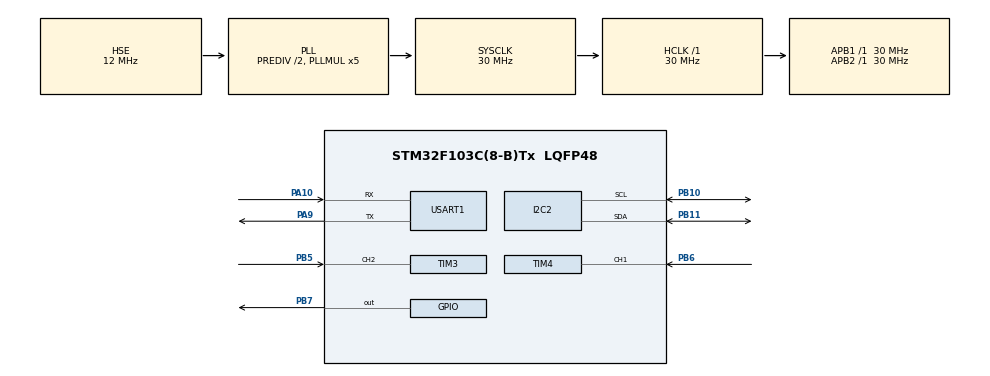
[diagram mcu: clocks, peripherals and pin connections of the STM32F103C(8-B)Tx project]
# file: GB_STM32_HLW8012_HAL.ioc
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Mcu.Family=STM32F1
Mcu.Name=STM32F103C(8-B)Tx
Mcu.Package=LQFP48
NVIC.PriorityGroup=NVIC_PRIORITYGROUP_4
NVIC.TIM3_IRQn=true\:0\:0\:false\:false\:true\:true\:true
NVIC.TIM4_IRQn=true\:0\:0\:false\:false\:true\:true\:true
PA10.Mode=Asynchronous
PA10.Signal=USART1_RX
PA13.Mode=Serial_Wire
PA13.Signal=SYS_JTMS-SWDIO
PA14.Mode=Serial_Wire
PA14.Signal=SYS_JTCK-SWCLK
PA9.Mode=Asynchronous
PA9.Signal=USART1_TX
PB10.Mode=I2C
PB10.Signal=I2C2_SCL
PB11.Mode=I2C
PB11.Signal=I2C2_SDA
PB5.Signal=S_TIM3_CH2
PB6.Signal=S_TIM4_CH1
PB7.Signal=GPIO_Output
PD0-OSC_IN.Mode=HSE-External-Oscillator
PD0-OSC_IN.Signal=RCC_OSC_IN
PD1-OSC_OUT.Mode=HSE-External-Oscillator
PD1-OSC_OUT.Signal=RCC_OSC_OUT
ProjectManager.HeapSize=0x200
ProjectManager.StackSize=0x400
ProjectManager.TargetToolchain=STM32CubeIDE
RCC.AHBFreq_Value=30000000
RCC.APB1Freq_Value=30000000
RCC.APB1TimFreq_Value=30000000
RCC.APB2Freq_Value=30000000
RCC.APB2TimFreq_Value=30000000
RCC.HCLKFreq_Value=30000000
RCC.HSEDivPLL=RCC_HSE_PREDIV_DIV2
RCC.HSE_VALUE=12000000
RCC.PLLMUL=RCC_PLL_MUL5
RCC.PLLSourceVirtual=RCC_PLLSOURCE_HSE
RCC.SYSCLKFreq_VALUE=30000000
RCC.SYSCLKSource=RCC_SYSCLKSOURCE_PLLCLK
RCC.USBFreq_Value=30000000
SH.S_TIM3_CH2.0=TIM3_CH2,PWM_Input_2
SH.S_TIM4_CH1.0=TIM4_CH1,PWM_Input_1
TIM3.Prescaler=320
TIM4.Prescaler=320
USART1.VirtualMode=VM_ASYNC
board=custom

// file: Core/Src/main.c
/* USER CODE BEGIN Header */
/**
  ******************************************************************************
  * @file           : main.c
  * @brief          : Main program body
  ******************************************************************************
  * @attention
  *
  * Copyright (c) 2022 STMicroelectronics.
  * All rights reserved.
  *
  * This software is licensed under terms that can be found in the LICENSE file
  * in the root directory of this software component.
  * If no LICENSE file comes with this software, it is provided AS-IS.
  *
  ******************************************************************************
  */
/* USER CODE END Header */
#include "main.h"

/* USER CODE BEGIN Includes */
#include "stdio.h"

#include "gb_hlw8012.h"
#include "gb_timer_input_capture.h"
#include "gb_ssd1306_hal.h"
/* USER CODE END Includes */

/* USER CODE BEGIN PM */
#define F_CLK  32000000UL
/* USER CODE END PM */

I2C_HandleTypeDef hi2c2;

TIM_HandleTypeDef htim3;
TIM_HandleTypeDef htim4;

UART_HandleTypeDef huart1;

/* USER CODE BEGIN PV */

uint16_t size_of_command( const char* gb_string)
{
	uint16_t counter=0;
	while(*gb_string)
	{
		counter = counter+1;
		*gb_string++;
	}
	return counter;
}
void GB_printString1(const char *gb_myString)
{
	HAL_UART_Transmit(&huart1,(uint8_t *)gb_myString,size_of_command(gb_myString), 100);
}

#define CURRENT_RESISTOR                0.001
#define VOLTAGE_RESISTOR_UPSTREAM       ( 5 * 470000 ) // Real: 2280k
#define VOLTAGE_RESISTOR_DOWNSTREAM     ( 1000 ) // Real 1.009k

/* USER CODE END PV */

void SystemClock_Config(void);
static void MX_GPIO_Init(void);
static void MX_USART1_UART_Init(void);
static void MX_TIM3_Init(void);
static void MX_TIM4_Init(void);
static void MX_I2C2_Init(void);

/* USER CODE BEGIN 0 */
float current = 0;

float voltage = 0;

float power = 0;

float def_current_multi = 0;
float def_voltage_multi = 0;
float def_power_multi = 0;

/* USER CODE END 0 */

int main(void)
{

  /* MCU Configuration--------------------------------------------------------*/

  /* Reset of all peripherals, Initializes the Flash interface and the Systick. */
  HAL_Init();

  /* Configure the system clock */
  SystemClock_Config();

  /* Initialize all configured peripherals */
  MX_GPIO_Init();
  MX_USART1_UART_Init();
  MX_TIM3_Init();
  MX_TIM4_Init();
  MX_I2C2_Init();
  /* USER CODE BEGIN 2 */

  ssd1306_init();
  ssd1306_clear(GB_SSD1306_COLOR_BLACK);
  ssd1306_update_data();

  HAL_TIM_IC_Start_IT(&htim3, TIM_CHANNEL_2);   // main channel
  HAL_TIM_IC_Start(&htim3, TIM_CHANNEL_1);   // indirect channel

  HAL_TIM_IC_Start_IT(&htim4, TIM_CHANNEL_1);   // main channel
  HAL_TIM_IC_Start(&htim4, TIM_CHANNEL_2);   // indirect channel

  hlw8012_setResistors(CURRENT_RESISTOR, VOLTAGE_RESISTOR_UPSTREAM, VOLTAGE_RESISTOR_DOWNSTREAM);

  GB_printString1(" Default Current Multiplier");
  //GB_decimel1(hlw8012_getcurrent_multiplier());
  def_current_multi =hlw8012_getcurrent_multiplier();

  GB_printString1(" Default Voltage Multiplier");
  //GB_decimel1(hlw8012_getvoltage_multiplier());
  def_voltage_multi =hlw8012_getvoltage_multiplier();

  GB_printString1(" Default Power Multiplier");
  //GB_decimel1(hlw8012_getpower_multiplier());
  def_power_multi = hlw8012_getpower_multiplier();

  hlw8012_calibrate();

  /* USER CODE END 2 */

  /* Infinite loop */
  while (1)
  {

    /* USER CODE BEGIN 3 */

	  ssd1306_GotoXY(0, 0);
	  		    ssd1306_print_string("Current:", GB_SSD1306_COLOR_WHITE);
	  		    ssd1306_float(hlw8012_getcurrent(),GB_SSD1306_COLOR_WHITE);
	  		    ssd1306_print_string(" A", GB_SSD1306_COLOR_WHITE);
	  		    ssd1306_update_data();

	  			ssd1306_GotoXY(0, 15);
	  		    ssd1306_print_string("Voltage:", GB_SSD1306_COLOR_WHITE);
	  		    ssd1306_float(hlw8012_getvoltage(),GB_SSD1306_COLOR_WHITE);
	  		    ssd1306_print_string(" V", GB_SSD1306_COLOR_WHITE);
	  			ssd1306_update_data();

	  			ssd1306_GotoXY(0, 24);
	  			ssd1306_print_string("Power:", GB_SSD1306_COLOR_WHITE);
	  			ssd1306_float(hlw8012_getactivepower(),GB_SSD1306_COLOR_WHITE);
	  			ssd1306_print_string(" W", GB_SSD1306_COLOR_WHITE);
	  			ssd1306_update_data();

//	  			GB_printString1("Current in AMPS: ");
//	  			GB_float_value1(hlw8012_getcurrent());
//	  			GB_printString1("A");
//	  		    GB_uart_newline1();
//
//	  		    GB_printString1("Voltage in Volts: ");
//	  		    GB_float_value1(hlw8012_getvoltage());
//	  		    GB_printString1("V");
//	  		    GB_uart_newline1();

// current = hlw8012_getcurrent();
// voltage =  hlw8012_getvoltage();
// power =  hlw8012_getactivepower();
// HAL_Delay(100);

  }
  /* USER CODE END 3 */
}

void SystemClock_Config(void)
{
  RCC_OscInitTypeDef RCC_OscInitStruct = {0};
  RCC_ClkInitTypeDef RCC_ClkInitStruct = {0};

  /** Initializes the RCC Oscillators according to the specified parameters
  * in the RCC_OscInitTypeDef structure.
  */
  RCC_OscInitStruct.OscillatorType = RCC_OSCILLATORTYPE_HSE;
  RCC_OscInitStruct.HSEState = RCC_HSE_ON;
  RCC_OscInitStruct.HSEPredivValue = RCC_HSE_PREDIV_DIV2;
  RCC_OscInitStruct.HSIState = RCC_HSI_ON;
  RCC_OscInitStruct.PLL.PLLState = RCC_PLL_ON;
  RCC_OscInitStruct.PLL.PLLSource = RCC_PLLSOURCE_HSE;
  RCC_OscInitStruct.PLL.PLLMUL = RCC_PLL_MUL5;
  if (HAL_RCC_OscConfig(&RCC_OscInitStruct) != HAL_OK)
  {
    Error_Handler();
  }
  /** Initializes the CPU, AHB and APB buses clocks
  */
  RCC_ClkInitStruct.ClockType = RCC_CLOCKTYPE_HCLK|RCC_CLOCKTYPE_SYSCLK
                              |RCC_CLOCKTYPE_PCLK1|RCC_CLOCKTYPE_PCLK2;
  RCC_ClkInitStruct.SYSCLKSource = RCC_SYSCLKSOURCE_PLLCLK;
  RCC_ClkInitStruct.AHBCLKDivider = RCC_SYSCLK_DIV1;
  RCC_ClkInitStruct.APB1CLKDivider = RCC_HCLK_DIV1;
  RCC_ClkInitStruct.APB2CLKDivider = RCC_HCLK_DIV1;

  if (HAL_RCC_ClockConfig(&RCC_ClkInitStruct, FLASH_LATENCY_1) != HAL_OK)
  {
    Error_Handler();
  }
}

static void MX_I2C2_Init(void)
{

  hi2c2.Instance = I2C2;
  hi2c2.Init.ClockSpeed = 100000;
  hi2c2.Init.DutyCycle = I2C_DUTYCYCLE_2;
  hi2c2.Init.OwnAddress1 = 0;
  hi2c2.Init.AddressingMode = I2C_ADDRESSINGMODE_7BIT;
  hi2c2.Init.DualAddressMode = I2C_DUALADDRESS_DISABLE;
  hi2c2.Init.OwnAddress2 = 0;
  hi2c2.Init.GeneralCallMode = I2C_GENERALCALL_DISABLE;
  hi2c2.Init.NoStretchMode = I2C_NOSTRETCH_DISABLE;
  if (HAL_I2C_Init(&hi2c2) != HAL_OK)
  {
    Error_Handler();
  }

}

static void MX_TIM3_Init(void)
{

  TIM_SlaveConfigTypeDef sSlaveConfig = {0};
  TIM_IC_InitTypeDef sConfigIC = {0};
  TIM_MasterConfigTypeDef sMasterConfig = {0};

  htim3.Instance = TIM3;
  htim3.Init.Prescaler = 320;
  htim3.Init.CounterMode = TIM_COUNTERMODE_UP;
  htim3.Init.Period = 65535;
  htim3.Init.ClockDivision = TIM_CLOCKDIVISION_DIV1;
  htim3.Init.AutoReloadPreload = TIM_AUTORELOAD_PRELOAD_DISABLE;
  if (HAL_TIM_IC_Init(&htim3) != HAL_OK)
  {
    Error_Handler();
  }
  sSlaveConfig.SlaveMode = TIM_SLAVEMODE_RESET;
  sSlaveConfig.InputTrigger = TIM_TS_TI2FP2;
  sSlaveConfig.TriggerPolarity = TIM_INPUTCHANNELPOLARITY_FALLING;
  sSlaveConfig.TriggerPrescaler = TIM_ICPSC_DIV1;
  sSlaveConfig.TriggerFilter = 0;
  if (HAL_TIM_SlaveConfigSynchro(&htim3, &sSlaveConfig) != HAL_OK)
  {
    Error_Handler();
  }
  sConfigIC.ICPolarity = TIM_INPUTCHANNELPOLARITY_RISING;
  sConfigIC.ICSelection = TIM_ICSELECTION_INDIRECTTI;
  sConfigIC.ICPrescaler = TIM_ICPSC_DIV1;
  sConfigIC.ICFilter = 0;
  if (HAL_TIM_IC_ConfigChannel(&htim3, &sConfigIC, TIM_CHANNEL_1) != HAL_OK)
  {
    Error_Handler();
  }
  sConfigIC.ICPolarity = TIM_INPUTCHANNELPOLARITY_FALLING;
  sConfigIC.ICSelection = TIM_ICSELECTION_DIRECTTI;
  if (HAL_TIM_IC_ConfigChannel(&htim3, &sConfigIC, TIM_CHANNEL_2) != HAL_OK)
  {
    Error_Handler();
  }
  sMasterConfig.MasterOutputTrigger = TIM_TRGO_RESET;
  sMasterConfig.MasterSlaveMode = TIM_MASTERSLAVEMODE_DISABLE;
  if (HAL_TIMEx_MasterConfigSynchronization(&htim3, &sMasterConfig) != HAL_OK)
  {
    Error_Handler();
  }

}

static void MX_TIM4_Init(void)
{

  TIM_SlaveConfigTypeDef sSlaveConfig = {0};
  TIM_IC_InitTypeDef sConfigIC = {0};
  TIM_MasterConfigTypeDef sMasterConfig = {0};

  htim4.Instance = TIM4;
  htim4.Init.Prescaler = 320;
  htim4.Init.CounterMode = TIM_COUNTERMODE_UP;
  htim4.Init.Period = 65535;
  htim4.Init.ClockDivision = TIM_CLOCKDIVISION_DIV1;
  htim4.Init.AutoReloadPreload = TIM_AUTORELOAD_PRELOAD_DISABLE;
  if (HAL_TIM_IC_Init(&htim4) != HAL_OK)
  {
    Error_Handler();
  }
  sSlaveConfig.SlaveMode = TIM_SLAVEMODE_RESET;
  sSlaveConfig.InputTrigger = TIM_TS_TI1FP1;
  sSlaveConfig.TriggerPolarity = TIM_INPUTCHANNELPOLARITY_RISING;
  sSlaveConfig.TriggerPrescaler = TIM_ICPSC_DIV1;
  sSlaveConfig.TriggerFilter = 0;
  if (HAL_TIM_SlaveConfigSynchro(&htim4, &sSlaveConfig) != HAL_OK)
  {
    Error_Handler();
  }
  sConfigIC.ICPolarity = TIM_INPUTCHANNELPOLARITY_RISING;
  sConfigIC.ICSelection = TIM_ICSELECTION_DIRECTTI;
  sConfigIC.ICPrescaler = TIM_ICPSC_DIV1;
  sConfigIC.ICFilter = 0;
  if (HAL_TIM_IC_ConfigChannel(&htim4, &sConfigIC, TIM_CHANNEL_1) != HAL_OK)
  {
    Error_Handler();
  }
  sConfigIC.ICPolarity = TIM_INPUTCHANNELPOLARITY_FALLING;
  sConfigIC.ICSelection = TIM_ICSELECTION_INDIRECTTI;
  if (HAL_TIM_IC_ConfigChannel(&htim4, &sConfigIC, TIM_CHANNEL_2) != HAL_OK)
  {
    Error_Handler();
  }
  sMasterConfig.MasterOutputTrigger = TIM_TRGO_RESET;
  sMasterConfig.MasterSlaveMode = TIM_MASTERSLAVEMODE_DISABLE;
  if (HAL_TIMEx_MasterConfigSynchronization(&htim4, &sMasterConfig) != HAL_OK)
  {
    Error_Handler();
  }

}

static void MX_USART1_UART_Init(void)
{

  huart1.Instance = USART1;
  huart1.Init.BaudRate = 115200;
  huart1.Init.WordLength = UART_WORDLENGTH_8B;
  huart1.Init.StopBits = UART_STOPBITS_1;
  huart1.Init.Parity = UART_PARITY_NONE;
  huart1.Init.Mode = UART_MODE_TX_RX;
  huart1.Init.HwFlowCtl = UART_HWCONTROL_NONE;
  huart1.Init.OverSampling = UART_OVERSAMPLING_16;
  if (HAL_UART_Init(&huart1) != HAL_OK)
  {
    Error_Handler();
  }

}

static void MX_GPIO_Init(void)
{
  GPIO_InitTypeDef GPIO_InitStruct = {0};

  /* GPIO Ports Clock Enable */
  __HAL_RCC_GPIOD_CLK_ENABLE();
  __HAL_RCC_GPIOB_CLK_ENABLE();
  __HAL_RCC_GPIOA_CLK_ENABLE();

  /*Configure GPIO pin Output Level */
  HAL_GPIO_WritePin(GPIOB, GPIO_PIN_7, GPIO_PIN_RESET);

  /*Configure GPIO pin : PB7 */
  GPIO_InitStruct.Pin = GPIO_PIN_7;
  GPIO_InitStruct.Mode = GPIO_MODE_OUTPUT_PP;
  GPIO_InitStruct.Pull = GPIO_NOPULL;
  GPIO_InitStruct.Speed = GPIO_SPEED_FREQ_LOW;
  HAL_GPIO_Init(GPIOB, &GPIO_InitStruct);

}

void Error_Handler(void)
{
  __disable_irq();
  while (1)
  {
  }
}
